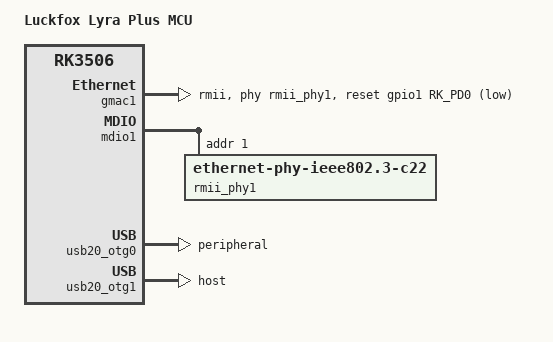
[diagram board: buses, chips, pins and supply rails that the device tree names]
// SPDX-License-Identifier: (GPL-2.0+ OR MIT)
/*
 * Copyright (c) 2024 Rockchip Electronics Co., Ltd.
 */

/dts-v1/;

#include "rk3506-luckfox-lyra.dtsi"

/ {
	model = "Luckfox Lyra Plus MCU";
	compatible = "rockchip,rk3506g-demo-display-control", "rockchip,rk3506";

	chosen {
		bootargs = "earlycon=uart8250,mmio32,0xff0a0000 console=tty1 console=ttyFIQ0 storagemedia=sd root=/dev/mmcblk0p3 rootfstype=ext4 rootwait snd_aloop.index=7 snd_aloop.use_raw_jiffies=1";
	};

	mcu_rproc: mcu@fff84000 {
		compatible = "rockchip,rk3506-mcu";
		reg = <0xfff84000 0x8000>;
		firmware-name = "rk3506-m0.elf";

    /* for now include the clocks also that required by the MCU FW */
		clocks = <&cru HCLK_M0>, <&cru STCLK_M0>,
		         <&cru PCLK_TIMER>, <&cru CLK_TIMER0_CH5>,
						 <&cru SCLK_UART4>, <&cru PCLK_UART4>;

		resets = <&cru SRST_H_M0>, <&cru SRST_M0_JTAG>, <&cru SRST_HRESETN_M0_AC>;
		reset-names = "h_m0", "m0_jtag", "hresetn_m0_ac";
	};

  /* this one is used both the u-boot and the kernel */
/*
	rockchip_amp: rockchip-amp {
		compatible = "rockchip,amp";
		clocks = <&cru HCLK_M0>, <&cru STCLK_M0>,
			<&cru SCLK_UART4>, <&cru PCLK_UART4>,
			<&cru PCLK_TIMER>, <&cru CLK_TIMER0_CH5>;

		status = "okay";
	};
*/

};

&reserved_memory {
	/* remote amp core address */
	amp_shmem_reserved: amp-shmem@3b00000 {
		reg = <0x03b00000 0x100000>;
    no-map;
	};

	rpmsg_reserved: rpmsg@3c00000 {
		reg = <0x03c00000 0x100000>;
    no-map;
	};

	rpmsg_dma_reserved: rpmsg-dma@3d00000 {
		compatible = "shared-dma-pool";
		reg = <0x03d00000 0x100000>;
    no-map;
	};

  amp_reserved: amp@3e00000 {
		reg = <0x3e00000 0x100000>;
		no-map;
	};

	/* mcu address */
	mcu_reserved: mcu@fff80000 {
		reg = <0xfff80000 0xc000>;
    no-map;
	};
};


/**********display**********/
&cma {
	size = <0x0200000>;
};

&dsi {
	status = "disabled";
};

&dsi_dphy {
	status = "disabled";
};

&dsi_in_vop {
	status = "disabled";
};

&route_dsi {
	status = "disabled";
};

/**********ethernet**********/
&gmac1 {
	phy-mode = "rmii";
	clock_in_out = "output";

	snps,reset-gpio = <&gpio1 RK_PD0 GPIO_ACTIVE_LOW>;
	snps,reset-active-low;
	snps,reset-delays-us = <0 20000 100000>;

	pinctrl-names = "default";
	pinctrl-0 = <&eth_rmii1_miim_pins &eth_rmii1_tx_bus2_pins &eth_rmii1_rx_bus2_pins &eth_rmii1_clk_pins>;

	phy-handle = <&rmii_phy1>;
	status = "okay";
};

&mdio1 {
	rmii_phy1: phy@1 {
		compatible = "ethernet-phy-ieee802.3-c22";
		reg = <0x1>;
	};
};

/**********usb**********/
&usb20_otg0 {
	dr_mode = "peripheral";
	status = "okay";
};

&usb20_otg1 {
	dr_mode = "host";
	status = "okay";
};
